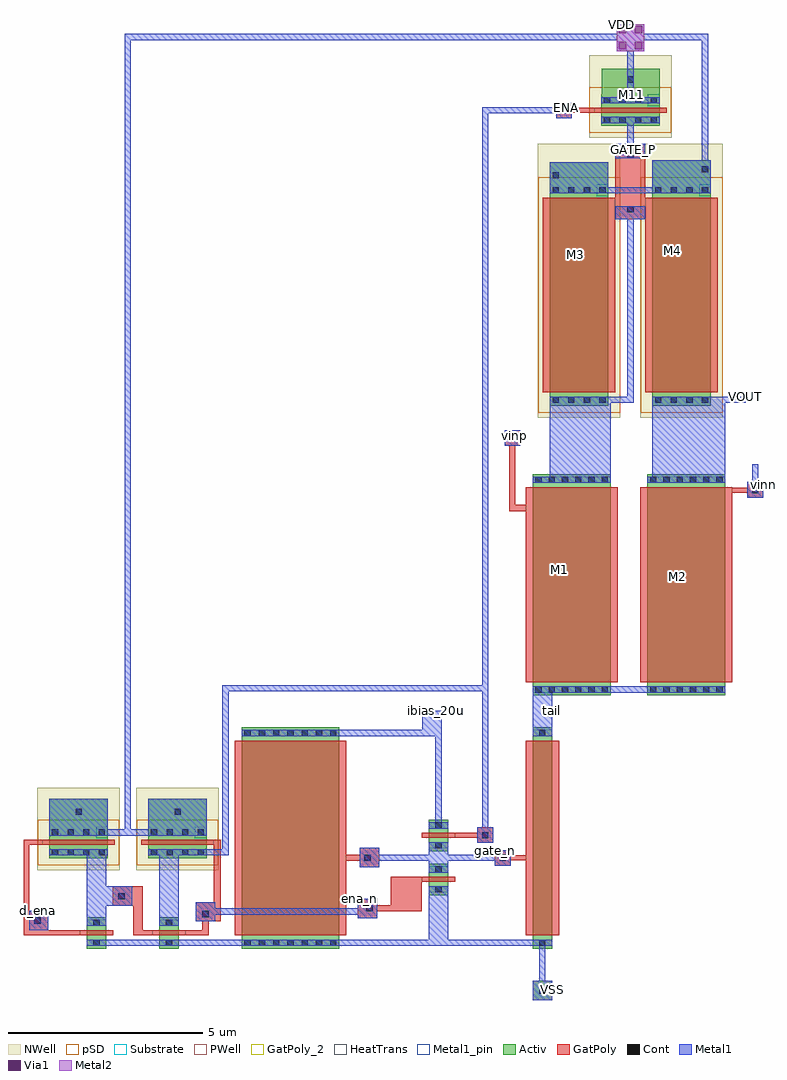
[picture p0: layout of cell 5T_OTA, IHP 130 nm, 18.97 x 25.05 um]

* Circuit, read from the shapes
.subckt 5T_OTA ENA GATE_P VDD VOUT VSS d_ena ena_n gate_n ibias_20u tail vinn vinp
XM1 ena_n d_ena VSS VSS sg13_lv_nmos w=0.5u l=0.13u
XM2 ENA ena_n VSS VSS sg13_lv_nmos w=0.5u l=0.13u
XM3 ibias_20u gate_n VSS VSS sg13_lv_nmos w=2.5u l=5u
XM4 gate_n ena_n VSS VSS sg13_lv_nmos w=0.5u l=0.13u
XM5 ibias_20u ENA gate_n VSS sg13_lv_nmos w=0.5u l=0.13u
XM6 tail gate_n VSS VSS sg13_lv_nmos w=0.5u l=5u
XM7 GATE_P vinp tail VSS sg13_lv_nmos w=2u l=5u
XM8 VOUT vinn tail VSS sg13_lv_nmos w=2u l=5u
XM9 VDD d_ena ena_n VDD sg13_lv_pmos w=1.5u l=0.13u
XM10 VDD ena_n ENA VDD sg13_lv_pmos w=1.5u l=0.13u
XM11 VDD GATE_P GATE_P VDD sg13_lv_pmos w=1.5u l=5u
XM12 VDD ENA GATE_P VDD sg13_lv_pmos w=1.5u l=0.13u
XM13 VDD GATE_P VOUT VDD sg13_lv_pmos w=1.5u l=5u
.ends

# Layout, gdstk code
from math import pi, radians
import gdstk
lib = gdstk.Library(unit=1e-6, precision=1e-09)
def R(c, l, rs):  # rectangles x0, y0, x1, y1
    for r in rs: c.add(gdstk.rectangle(r[:2], r[2:], *l))
def A(c, l, x, y, w, h, nx, ny, dx, dy):  # array of equal rectangles
    R(c, l, [(x+i*dx, y+j*dy, x+i*dx+w, y+j*dy+h) for i in range(nx) for j in range(ny)])
def P(c, l, *ps):  # polygons
    for p in ps: c.add(gdstk.Polygon(p, *l))
Activ = (1, 0)
GatPoly = (5, 0)
GatPoly_2 = (5, 2)
Cont = (6, 0)
Metal1 = (8, 0)
Metal1_pin = (8, 2)
Metal2 = (10, 0)
pSD = (14, 0)
Via1 = (19, 0)
NWell = (31, 0)
Substrate = (40, 0)
PWell = (46, 0)
HeatTrans = (51, 0)

via_stack = lib.new_cell('via_stack')
R(via_stack, Metal1, [(-0.35,-0.35,0.35,0.35)])
R(via_stack, Metal2, [(-0.35,-0.35,0.35,0.35)])
R(via_stack, Via1, [(-0.3,-0.3,-0.11,-0.11), (0.11,-0.3,0.3,-0.11), (-0.3,0.11,-0.11,0.3), (0.11,0.11,0.3,0.3)])

pmos_1 = lib.new_cell('pmos$1')
R(pmos_1, Activ, [(0,0,0.3,0.3), (0,0,0.81,1.5), (0.51,0,0.81,0.3)])
R(pmos_1, GatPoly, [(0.34,-0.18,0.47,1.68), (0.34,-0.18,0.47,1.68)])
A(pmos_1, Cont, 0.07, 0.07, 0.16, 0.16, 1, 4, 0, 0.4)
A(pmos_1, Cont, 0.58, 0.07, 0.16, 0.16, 1, 4, 0, 0.4)
R(pmos_1, Metal1, [(0.07,0,0.23,1.5), (0.07,0,0.23,1.5), (0.58,0,0.74,1.5), (0.58,0,0.74,1.5)])
R(pmos_1, pSD, [(-0.18,-0.3,0.99,1.8)])
R(pmos_1, NWell, [(-0.31,-0.31,1.12,1.81)])
R(pmos_1, Substrate, [(0.51,0,0.81,0.3)])
R(pmos_1, HeatTrans, [(0.34,-0.18,0.47,1.68)])
pmos_1.add(gdstk.Label('pmos', (0.405,0.75), layer=63, texttype=0))
pmos_1.add(gdstk.Label('pmos', (0.405,0.75), layer=51, texttype=0))

pmos_2 = lib.new_cell('pmos$2')
R(pmos_2, Activ, [(0,0,0.3,0.3), (0,0,5.68,1.5), (5.38,0,5.68,0.3)])
R(pmos_2, GatPoly, [(0.34,-0.18,5.34,1.68), (0.34,-0.18,5.34,1.68)])
A(pmos_2, Cont, 0.07, 0.07, 0.16, 0.16, 1, 4, 0, 0.4)
A(pmos_2, Cont, 5.45, 0.07, 0.16, 0.16, 1, 4, 0, 0.4)
R(pmos_2, Metal1, [(0.07,0,0.23,1.5), (0.07,0,0.23,1.5), (5.45,0,5.61,1.5), (5.45,0,5.61,1.5)])
R(pmos_2, pSD, [(-0.18,-0.3,5.86,1.8)])
R(pmos_2, NWell, [(-0.31,-0.31,5.99,1.81)])
R(pmos_2, Substrate, [(5.38,0,5.68,0.3)])
R(pmos_2, HeatTrans, [(0.34,-0.18,5.34,1.68)])
pmos_2.add(gdstk.Label('pmos', (2.84,0.75), layer=63, texttype=0))
pmos_2.add(gdstk.Label('pmos', (2.84,0.75), layer=51, texttype=0))

nmos_1 = lib.new_cell('nmos$1')
R(nmos_1, Activ, [(0,0,0.3,0.3), (0,0,5.68,2), (5.38,0,5.68,0.3)])
R(nmos_1, GatPoly, [(0.34,-0.18,5.34,2.18)])
R(nmos_1, GatPoly_2, [(0.34,-0.18,5.34,2.18)])
A(nmos_1, Cont, 0.07, 0.07, 0.16, 0.16, 1, 6, 0, 0.34)
A(nmos_1, Cont, 5.45, 0.07, 0.16, 0.16, 1, 6, 0, 0.34)
R(nmos_1, Metal1, [(0.07,0,0.23,2), (5.45,0,5.61,2)])
R(nmos_1, Metal1_pin, [(0.07,0,0.23,2), (5.45,0,5.61,2)])
R(nmos_1, HeatTrans, [(0.34,-0.18,5.34,2.18)])
nmos_1.add(gdstk.Label('nmos', (2.84,1), layer=63, texttype=0))
nmos_1.add(gdstk.Label('nmos', (2.84,1), layer=51, texttype=0))

nmos = lib.new_cell('nmos')
R(nmos, Activ, [(0,0,0.3,0.3), (0,0,5.68,0.5), (5.38,0,5.68,0.3)])
R(nmos, GatPoly, [(0.34,-0.18,5.34,0.68)])
R(nmos, GatPoly_2, [(0.34,-0.18,5.34,0.68)])
R(nmos, Cont, [(0.07,0.17,0.23,0.33), (5.45,0.17,5.61,0.33)])
R(nmos, Metal1, [(0.07,0,0.23,0.5), (5.45,0,5.61,0.5)])
R(nmos, Metal1_pin, [(0.07,0,0.23,0.5), (5.45,0,5.61,0.5)])
R(nmos, HeatTrans, [(0.34,-0.18,5.34,0.68)])
nmos.add(gdstk.Label('nmos', (2.84,0.25), layer=63, texttype=0))
nmos.add(gdstk.Label('nmos', (2.84,0.25), layer=51, texttype=0))

nmos_3 = lib.new_cell('nmos$3')
R(nmos_3, Activ, [(0,0,0.3,0.3), (0,0,0.81,0.5), (0.51,0,0.81,0.3)])
R(nmos_3, GatPoly, [(0.34,-0.18,0.47,0.68)])
R(nmos_3, GatPoly_2, [(0.34,-0.18,0.47,0.68)])
R(nmos_3, Cont, [(0.07,0.17,0.23,0.33), (0.58,0.17,0.74,0.33)])
R(nmos_3, Metal1, [(0.07,0,0.23,0.5), (0.58,0,0.74,0.5)])
R(nmos_3, Metal1_pin, [(0.07,0,0.23,0.5), (0.58,0,0.74,0.5)])
R(nmos_3, HeatTrans, [(0.34,-0.18,0.47,0.68)])
nmos_3.add(gdstk.Label('nmos', (0.405,0.25), layer=63, texttype=0))
nmos_3.add(gdstk.Label('nmos', (0.405,0.25), layer=51, texttype=0))

nmos_5 = lib.new_cell('nmos$5')
R(nmos_5, Activ, [(0,0,0.3,0.3), (0,0,5.68,2.5), (5.38,0,5.68,0.3)])
R(nmos_5, GatPoly, [(0.34,-0.18,5.34,2.68)])
R(nmos_5, GatPoly_2, [(0.34,-0.18,5.34,2.68)])
A(nmos_5, Cont, 0.07, 0.07, 0.16, 0.16, 1, 3, 0, 0.365)
A(nmos_5, Cont, 5.45, 0.07, 0.16, 0.16, 1, 3, 0, 0.365)
A(nmos_5, Cont, 0.07, 1.17, 0.16, 0.16, 1, 3, 0, 0.365)
A(nmos_5, Cont, 5.45, 1.17, 0.16, 0.16, 1, 3, 0, 0.365)
R(nmos_5, Cont, [(0.07,2.27,0.23,2.43), (5.45,2.27,5.61,2.43)])
R(nmos_5, Metal1, [(0.07,0,0.23,2.5), (5.45,0,5.61,2.5)])
R(nmos_5, Metal1_pin, [(0.07,0,0.23,2.5), (5.45,0,5.61,2.5)])
R(nmos_5, HeatTrans, [(0.34,-0.18,5.34,2.68)])
nmos_5.add(gdstk.Label('nmos', (2.84,1.25), layer=63, texttype=0))
nmos_5.add(gdstk.Label('nmos', (2.84,1.25), layer=51, texttype=0))

c_5t_ota = lib.new_cell('5T_OTA')
R(c_5t_ota, Activ, [(-2.5,-24.5,-2,-24), (-14.915,-20.05,-13.415,-19.33), (-12.375,-20.05,-10.875,-19.33), (-2.065,-3.565,-0.565,-2.995), (0.565,-3.565,2.065,-2.945), (-0.74,-1.255,0.75,-0.6)])
R(c_5t_ota, GatPoly, [(-11.415,-22.84,-10.985,-22.71), (-15.435,-22.71,-14.935,-22.21), (-11.16,-22.485,-10.66,-21.985), (-10.695,-22.485,-10.515,-20.39), (-7,-22.4,-6.5,-21.9), (-6.145,-22.225,-5.355,-21.34), (-6.94,-21.095,-6.44,-20.595), (-3.475,-21.055,-3.075,-20.655), (-3.075,-20.91,-2.505,-20.78), (-3.925,-20.465,-3.525,-20.065), (-4.495,-20.34,-3.925,-20.21), (3.005,-11.605,3.405,-11.205), (2.435,-11.48,3.005,-11.35), (-3.23,-10.28,-2.83,-9.88), (-0.385,-4.455,0.385,-2.52), (-1.9,-1.87,-1.5,-1.47), (-1.5,-1.725,-0.93,-1.595)])
P(c_5t_ota, GatPoly, [(-12.765,-22.84),(-12.765,-22.085),(-13.28,-22.085),(-13.28,-21.585),(-12.52,-21.585),(-12.52,-22.71),(-12.275,-22.71),(-12.275,-22.84)])
R(c_5t_ota, Cont, [(-2.345,-24.335,-2.185,-24.175), (-15.295,-22.54,-15.135,-22.38), (-10.985,-22.37,-10.825,-22.21), (-6.775,-22.225,-6.615,-22.065), (-13.14,-21.915,-12.98,-21.755), (-6.825,-20.93,-6.665,-20.77), (-3.355,-20.93,-3.195,-20.77), (-3.805,-20.35,-3.645,-20.19), (-14.24,-19.75,-14.08,-19.59), (-11.7,-19.75,-11.54,-19.59), (3.125,-11.49,3.285,-11.33), (-3.11,-10.155,-2.95,-9.995), (-0.08,-4.285,0.08,-4.125), (-1.995,-3.415,-1.835,-3.255), (1.835,-3.255,1.995,-3.095), (-0.08,-2.9,0.08,-2.74), (-1.78,-1.745,-1.62,-1.585), (-0.08,-0.955,0.08,-0.795)])
R(c_5t_ota, Metal1, [(-2.5,-24.5,-2,-24), (-5.175,-22.95,-4.675,-21.74), (-15.435,-22.71,-14.935,-22.21), (-11.16,-22.485,-10.66,-21.985), (-13.955,-22.44,-13.455,-20.79), (-12.095,-22.44,-11.595,-20.79), (-7,-22.4,-6.5,-21.9), (-13.455,-22.085,-13.28,-21.585), (-13.28,-22.085,-12.78,-21.585), (-6.94,-21.095,-6.44,-20.595), (-5.175,-21.07,-4.675,-20.61), (-3.475,-21.055,-3.075,-20.655), (-3.925,-20.465,-3.525,-20.065), (-14.915,-20.12,-13.415,-19.33), (-12.375,-20.12,-10.875,-19.33), (-5.345,-17.57,-4.845,-17.07), (-2.51,-17.57,-2.01,-16.61), (3.005,-11.605,3.405,-11.205), (-2.065,-11.075,-0.51,-9.175), (0.565,-11.07,2.435,-9.17), (-3.23,-10.28,-2.83,-9.88), (-0.385,-4.455,0.385,-4.125), (-2.065,-3.635,-0.565,-2.995), (0.565,-3.635,2.065,-2.945), (-0.385,-2.9,0.385,-2.52), (-1.9,-1.87,-1.5,-1.47)])
R(c_5t_ota, pSD, [(-2.5,-24.5,-2,-24)])
R(c_5t_ota, NWell, [(-15.225,-19.74,-13.105,-19.055), (-12.685,-19.74,-10.565,-19.055), (-2.375,-3.255,-0.255,-2.52), (0.255,-3.255,2.375,-2.52), (-1.06,-0.945,1.06,-0.25)])
R(c_5t_ota, PWell, [(-2.5,-24.5,-2,-24)])
c_5t_ota.add(gdstk.FlexPath([(0,-1.325),(0,-0.15),(0,-0.15)], 0.16, ends="flush", simple_path=True, layer=8, datatype=0))  # Metal1
c_5t_ota.add(gdstk.FlexPath([(-10.66,-22.23),(-7,-22.23),(-7,-22.23),(-7,-22.23)], 0.16, ends="flush", simple_path=True, layer=8, datatype=0))  # Metal1
c_5t_ota.add(gdstk.FlexPath([(0,-1.995),(0,-2.9)], 0.16, ends="flush", simple_path=True, layer=8, datatype=0))  # Metal1
c_5t_ota.add(gdstk.FlexPath([(-2.26,-24),(-2.26,-23.11)], 0.16, ends="flush", simple_path=True, layer=8, datatype=0))  # Metal1
c_5t_ota.add(gdstk.FlexPath([(0.565,-3.715),(-0.565,-3.715)], 0.16, ends="flush", simple_path=True, layer=8, datatype=0))  # Metal1
c_5t_ota.add(gdstk.FlexPath([(1.915,-3.635),(1.915,0.215),(0.35,0.215)], 0.16, ends="flush", simple_path=True, layer=8, datatype=0))  # Metal1
c_5t_ota.add(gdstk.FlexPath([(-1.915,-3.635),(-1.915,-3.255)], 0.16, ends="flush", simple_path=True, layer=8, datatype=0))  # Metal1
c_5t_ota.add(gdstk.FlexPath([(0,-4.125),(0,-9.095),(-0.565,-9.095)], 0.16, ends="flush", simple_path=True, layer=8, datatype=0))  # Metal1
c_5t_ota.add(gdstk.FlexPath([(2.065,-9.095),(2.955,-9.095)], 0.16, ends="flush", simple_path=True, layer=8, datatype=0))  # Metal1
c_5t_ota.add(gdstk.FlexPath([(-12.9,-20.12),(-12.9,0.215),(-0.35,0.215)], 0.16, ends="flush", simple_path=True, layer=8, datatype=0))  # Metal1
c_5t_ota.add(gdstk.FlexPath([(0.435,-16.53),(-0.51,-16.53),(-0.51,-16.53)], 0.16, ends="flush", simple_path=True, layer=8, datatype=0))  # Metal1
c_5t_ota.add(gdstk.FlexPath([(-3.475,-20.85),(-4.675,-20.85)], 0.16, ends="flush", simple_path=True, layer=8, datatype=0))  # Metal1
c_5t_ota.add(gdstk.FlexPath([(3.205,-11.49),(3.205,-10.75)], 0.16, ends="flush", simple_path=True, layer=8, datatype=0))  # Metal1
c_5t_ota.add(gdstk.FlexPath([(-2.51,-23.03),(-13.955,-23.03)], 0.16, ends="flush", simple_path=True, layer=8, datatype=0))  # Metal1
c_5t_ota.add(gdstk.FlexPath([(-7.475,-17.65),(-4.925,-17.65),(-4.925,-19.94)], 0.16, ends="flush", simple_path=True, layer=8, datatype=0))  # Metal1
c_5t_ota.add(gdstk.FlexPath([(-5.175,-20.85),(-6.825,-20.85)], 0.16, ends="flush", simple_path=True, layer=8, datatype=0))  # Metal1
c_5t_ota.add(gdstk.FlexPath([(-1.9,-1.665),(-3.725,-1.665),(-3.725,-20.065),(-3.725,-20.065)], 0.16, ends="flush", simple_path=True, layer=8, datatype=0))  # Metal1
c_5t_ota.add(gdstk.FlexPath([(-13.415,-20.2),(-12.375,-20.2),(-12.375,-20.2),(-12.375,-20.2)], 0.16, ends="flush", simple_path=True, layer=8, datatype=0))  # Metal1
c_5t_ota.add(gdstk.FlexPath([(-14.16,-19.59),(-14.16,-20.12)], 0.16, ends="flush", simple_path=True, layer=8, datatype=0))  # Metal1
c_5t_ota.add(gdstk.FlexPath([(-11.62,-19.59),(-11.62,-20.12)], 0.16, ends="flush", simple_path=True, layer=8, datatype=0))  # Metal1
c_5t_ota.add(gdstk.FlexPath([(-3.805,-16.5),(-10.39,-16.5),(-10.39,-20.71),(-10.875,-20.71),(-10.875,-20.71)], 0.16, ends="flush", simple_path=True, layer=8, datatype=0))  # Metal1
c_5t_ota.add(gdstk.FlexPath([(-3.03,-10.28),(-3.03,-11.875),(-2.69,-11.875)], 0.16, ends="flush", simple_path=True, layer=5, datatype=0))  # GatPoly
c_5t_ota.add(gdstk.FlexPath([(-7.295,-20.85),(-6.62,-20.85),(-6.62,-20.85)], 0.16, ends="flush", simple_path=True, layer=5, datatype=0))  # GatPoly
c_5t_ota.add(gdstk.FlexPath([(-6.145,-22.145),(-6.82,-22.145),(-6.82,-22.145)], 0.16, ends="flush", simple_path=True, layer=5, datatype=0))  # GatPoly
c_5t_ota.add(gdstk.FlexPath([(-10.905,-22.84),(-10.905,-22.165),(-10.905,-22.165)], 0.16, ends="flush", simple_path=True, layer=5, datatype=0))  # GatPoly
c_5t_ota.add(gdstk.FlexPath([(-14.135,-22.775),(-15.5,-22.775),(-15.5,-20.455),(-15.095,-20.455)], 0.13, ends="flush", simple_path=True, layer=5, datatype=0))  # GatPoly
c_5t_ota.add(gdstk.Reference(via_stack, (0,0.2), rotation=pi/2))
c_5t_ota.add(gdstk.Reference(pmos_1, (0.75,-2.065), rotation=pi/2))
c_5t_ota.add(gdstk.Reference(pmos_2, (-0.565,-9.245), rotation=pi/2))
c_5t_ota.add(gdstk.Reference(nmos_1, (-0.51,-16.68), rotation=pi/2))
c_5t_ota.add(gdstk.Reference(nmos_1, (2.435,-16.68), rotation=pi/2))
c_5t_ota.add(gdstk.Reference(pmos_2, (2.065,-9.245), rotation=pi/2))
c_5t_ota.add(gdstk.Reference(nmos, (-2.01,-23.18), rotation=pi/2))
c_5t_ota.add(gdstk.Reference(nmos_3, (-4.675,-20.68), rotation=pi/2))
c_5t_ota.add(gdstk.Reference(nmos_3, (-4.675,-21.81), rotation=pi/2))
c_5t_ota.add(gdstk.Reference(nmos_5, (-7.475,-23.18), rotation=pi/2))
c_5t_ota.add(gdstk.Reference(nmos_3, (-13.455,-23.18), rotation=pi/2))
c_5t_ota.add(gdstk.Reference(nmos_3, (-11.595,-23.18), rotation=pi/2))
c_5t_ota.add(gdstk.Reference(pmos_1, (-10.875,-20.86), rotation=pi/2))
c_5t_ota.add(gdstk.Reference(pmos_1, (-13.415,-20.86), rotation=pi/2))
c_5t_ota.add(gdstk.Label('M1', (-1.81,-13.44), layer=63, texttype=0))
c_5t_ota.add(gdstk.Label('M2', (1.215,-13.625), layer=63, texttype=0))
c_5t_ota.add(gdstk.Label('M3', (-1.415,-5.375), layer=63, texttype=0))
c_5t_ota.add(gdstk.Label('M4', (1.08,-5.265), layer=63, texttype=0))
c_5t_ota.add(gdstk.Label('M11', (0.035,-1.255), layer=63, texttype=0))
c_5t_ota.add(gdstk.Label('VDD', (-0.22,0.545), layer=8, texttype=25))
c_5t_ota.add(gdstk.Label('ENA', (-1.635,-1.595), layer=8, texttype=25))
c_5t_ota.add(gdstk.Label('GATE_P', (0.08,-2.66), layer=8, texttype=25))
c_5t_ota.add(gdstk.Label('VOUT', (2.955,-9.015), layer=8, texttype=25))
c_5t_ota.add(gdstk.Label('vinp', (-2.965,-10.005), layer=8, texttype=25))
c_5t_ota.add(gdstk.Label('tail', (-2.015,-17.08), layer=8, texttype=25))
c_5t_ota.add(gdstk.Label('VSS', (-2,-24.235), layer=8, texttype=25))
c_5t_ota.add(gdstk.Label('vinn', (3.405,-11.28), layer=8, texttype=25))
c_5t_ota.add(gdstk.Label('gate_n', (-3.465,-20.665), layer=8, texttype=25))
c_5t_ota.add(gdstk.Label('ibias_20u', (-4.985,-17.07), layer=8, texttype=25))
c_5t_ota.add(gdstk.Label('ena_n', (-6.94,-21.9), layer=8, texttype=25))
c_5t_ota.add(gdstk.Label('d_ena', (-15.21,-22.21), layer=8, texttype=25))

lib.write_gds('5T_OTA.gds')
